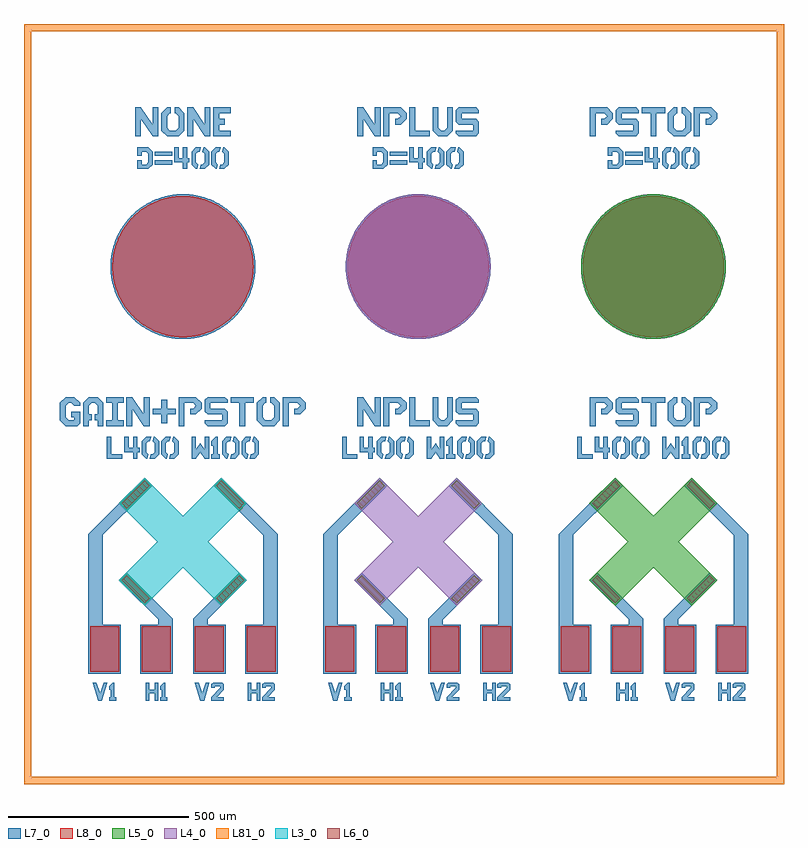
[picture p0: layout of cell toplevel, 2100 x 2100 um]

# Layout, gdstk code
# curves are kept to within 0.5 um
from math import pi, radians
import gdstk
lib = gdstk.Library(unit=1e-6, precision=1e-09)
def R(c, l, rs):  # rectangles x0, y0, x1, y1
    for r in rs: c.add(gdstk.rectangle(r[:2], r[2:], *l))
def P(c, l, *ps):  # polygons
    for p in ps: c.add(gdstk.Polygon(p, *l))
L3_0 = (3, 0)
L4_0 = (4, 0)
L5_0 = (5, 0)
L6_0 = (6, 0)
L7_0 = (7, 0)
L8_0 = (8, 0)
L81_0 = (81, 0)

rectangle = lib.new_cell('rectangle')
R(rectangle, L4_0, [(-200,-50,200,50)])

rectangle002 = lib.new_cell('rectangle002')
R(rectangle002, L7_0, [(-200,-170,-170,50)])

rectangle003 = lib.new_cell('rectangle003')
R(rectangle003, L7_0, [(170,-130,200,50)])

offset = lib.new_cell('offset')
R(offset, L6_0, [(-195,-45,-175,45)])

offset004 = lib.new_cell('offset004')
R(offset004, L6_0, [(175,-45,195,45)])

x_tilt = lib.new_cell('X_tilt')
x_tilt.add(gdstk.Reference(rectangle, (0,0)))
x_tilt.add(gdstk.Reference(rectangle002, (0,0)))
x_tilt.add(gdstk.Reference(rectangle003, (0,0)))
x_tilt.add(gdstk.Reference(offset, (0,0)))
x_tilt.add(gdstk.Reference(offset004, (0,0)))

rectangle006 = lib.new_cell('rectangle006')
R(rectangle006, L7_0, [(0,0,40,250)])

rectangle005 = lib.new_cell('rectangle005')
R(rectangle005, L7_0, [(0,0,90,135)])

rectangle007 = lib.new_cell('rectangle007')
R(rectangle007, L7_0, [(0,0,40,16.655)])

offset008 = lib.new_cell('offset008')
R(offset008, L8_0, [(-256.629,-358.787,-176.63,-233.787)])

offset009 = lib.new_cell('offset009')
R(offset009, L8_0, [(33.284,-358.787,113.284,-233.787)])

x_long = lib.new_cell('X_long')
x_long.add(gdstk.Reference(rectangle006, (-261.63,-228.787)))
x_long.add(gdstk.Reference(rectangle005, (-261.63,-363.787)))
x_long.add(gdstk.Reference(rectangle007, (28.284,-228.787)))
x_long.add(gdstk.Reference(rectangle005, (28.284,-363.787)))
x_long.add(gdstk.Reference(offset008, (0,0)))
x_long.add(gdstk.Reference(offset009, (0,0)))

x_short = lib.new_cell('X_short')

x_left = lib.new_cell('X_left')
x_left.add(gdstk.Reference(x_tilt, (0,0), rotation=radians(-45)))
x_left.add(gdstk.Reference(x_long, (0,0)))
x_left.add(gdstk.Reference(x_short, (0,0)))

x_left010 = lib.new_cell('X_left010')
x_left010.add(gdstk.Reference(x_tilt, (0,0), rotation=radians(225), x_reflection=True))
x_left010.add(gdstk.Reference(x_long, (0,0), rotation=pi, x_reflection=True))
x_left010.add(gdstk.Reference(x_short, (0,0), rotation=pi, x_reflection=True))

text = lib.new_cell('text')
P(text, L7_0, [(-168,400),(-152,400),(-120,352),(-120,400),(-104,400),(-104,320),(-120,320),(-152,368),(-152,320),(-168,320),(-168,400)],
  [(-96,400),(-48,400),(-32,384),(-32,368),(-48,352),(-64,352),(-64,368),(-56,368),(-48,376),(-56,384),(-80,384),(-80,320),(-96,320)],
  [(-24,400),(-8,400),(-8,336),(32,336),(32,320),(-24,320),(-24,400)],
  [(56,400),(56,344),(64,336),(72,336),(80,344),(80,400),(96,400),(96,336),(80,320),(56,320),(40,336),(40,400)],
  [(168,384),(120,384),(120,368),(160,368),(168,360),(168,328),(160,320),(112,320),(104,328),(104,336),(152,336),(152,352),(112,352),(104,360),(104,392),(112,400),(160,400),(168,392)])

text011 = lib.new_cell('text011')
P(text011, L7_0, [(-210,290),(-198,290),(-198,242),(-168,242),(-168,230),(-210,230),(-210,290)],
  [(-120,260),(-120,248),(-126,248),(-126,230),(-138,230),(-138,248),(-162,248),(-162,290),(-150,290),(-150,260),(-138,260),(-138,290),(-126,290),(-126,260),(-120,260)],
  [(-96,278),(-102,272),(-102,248),(-96,242),(-99,230),(-102,230),(-114,242),(-114,278),(-102,290),(-88.2,290),(-91.2,278),(-96,278)],
  [(-84,242),(-78,248),(-78,272),(-84,278),(-81,290),(-78,290),(-66,278),(-66,242),(-78,230),(-91.8,230),(-88.8,242),(-84,242)],
  [(-42,278),(-48,272),(-48,248),(-42,242),(-45,230),(-48,230),(-60,242),(-60,278),(-48,290),(-34.2,290),(-37.2,278),(-42,278)],
  [(-30,242),(-24,248),(-24,272),(-30,278),(-27,290),(-24,290),(-12,278),(-12,242),(-24,230),(-37.8,230),(-34.8,242),(-30,242)],
  [(24,290),(36,290),(36,254),(48,272),(60,254),(60,290),(72,290),(72,230),(60,230),(48,248),(36,230),(24,230)],
  [(84,266),(78,266),(78,278),(90,290),(96,290),(96,242),(102,242),(102,230),(78,230),(78,242),(84,242)],
  [(126,278),(120,272),(120,248),(126,242),(123,230),(120,230),(108,242),(108,278),(120,290),(133.8,290),(130.8,278),(126,278)],
  [(138,242),(144,248),(144,272),(138,278),(141,290),(144,290),(156,278),(156,242),(144,230),(130.2,230),(133.2,242),(138,242)],
  [(180,278),(174,272),(174,248),(180,242),(177,230),(174,230),(162,242),(162,278),(174,290),(187.8,290),(184.8,278),(180,278)],
  [(192,242),(198,248),(198,272),(192,278),(195,290),(198,290),(210,278),(210,242),(198,230),(184.2,230),(187.2,242),(192,242)])

text012 = lib.new_cell('text012')
P(text012, L7_0, [(15,50),(25,20),(35,50),(45,50),(30,0),(20,0),(5,50),(15,50)],
  [(55,30),(50,30),(50,40),(60,50),(65,50),(65,10),(70,10),(70,0),(50,0),(50,10),(55,10)])

text013 = lib.new_cell('text013')
P(text013, L7_0, [(15,50),(25,20),(35,50),(45,50),(30,0),(20,0),(5,50),(15,50)],
  [(50,45),(55,50),(80,50),(85,45),(85,30),(65,10),(85,10),(85,0),(50,0),(50,10),(75,35),(75,40),(60,40),(60,35),(50,35)])

text014 = lib.new_cell('text014')
P(text014, L7_0, [(5,50),(15,50),(15,30),(30,30),(30,50),(40,50),(40,0),(30,0),(30,20),(15,20),(15,0),(5,0),(5,50)],
  [(50,30),(45,30),(45,40),(55,50),(60,50),(60,10),(65,10),(65,0),(45,0),(45,10),(50,10)])

text015 = lib.new_cell('text015')
P(text015, L7_0, [(5,50),(15,50),(15,30),(30,30),(30,50),(40,50),(40,0),(30,0),(30,20),(15,20),(15,0),(5,0),(5,50)],
  [(45,45),(50,50),(75,50),(80,45),(80,30),(60,10),(80,10),(80,0),(45,0),(45,10),(70,35),(70,40),(55,40),(55,35),(45,35)])

pad_label = lib.new_cell('pad_label')
pad_label.add(gdstk.Reference(text012, (-254.13,-438.787)))
pad_label.add(gdstk.Reference(text013, (28.284,-438.787)))
pad_label.add(gdstk.Reference(text014, (-108.284,-438.787)))
pad_label.add(gdstk.Reference(text015, (174.13,-438.787)))

x_test = lib.new_cell('X_test')
x_test.add(gdstk.Reference(x_left, (0,0)))
x_test.add(gdstk.Reference(x_left010, (0,0)))
x_test.add(gdstk.Reference(text, (0,0)))
x_test.add(gdstk.Reference(text011, (0,0)))
x_test.add(gdstk.Reference(pad_label, (0,0)))

rectangle021 = lib.new_cell('rectangle021')
R(rectangle021, L3_0, [(-200,-50,200,50)])

rectangle022 = lib.new_cell('rectangle022')
R(rectangle022, L7_0, [(-200,-170,-170,50)])

rectangle023 = lib.new_cell('rectangle023')
R(rectangle023, L7_0, [(170,-130,200,50)])

offset025 = lib.new_cell('offset025')
R(offset025, L6_0, [(-195,-45,-175,45)])

offset027 = lib.new_cell('offset027')
R(offset027, L6_0, [(175,-45,195,45)])

boolean024 = lib.new_cell('boolean024')
R(boolean024, L5_0, [(-200,-50,-170,50)])

boolean026 = lib.new_cell('boolean026')
R(boolean026, L5_0, [(170,-50,200,50)])

x_tilt017 = lib.new_cell('X_tilt017')
x_tilt017.add(gdstk.Reference(rectangle021, (0,0)))
x_tilt017.add(gdstk.Reference(rectangle022, (0,0)))
x_tilt017.add(gdstk.Reference(rectangle023, (0,0)))
x_tilt017.add(gdstk.Reference(offset025, (0,0)))
x_tilt017.add(gdstk.Reference(offset027, (0,0)))
x_tilt017.add(gdstk.Reference(boolean024, (0,0)))
x_tilt017.add(gdstk.Reference(boolean026, (0,0)))

rectangle029 = lib.new_cell('rectangle029')
R(rectangle029, L7_0, [(0,0,40,250)])

rectangle028 = lib.new_cell('rectangle028')
R(rectangle028, L7_0, [(0,0,90,135)])

rectangle030 = lib.new_cell('rectangle030')
R(rectangle030, L7_0, [(0,0,40,16.655)])

offset031 = lib.new_cell('offset031')
R(offset031, L8_0, [(-256.629,-358.787,-176.63,-233.787)])

offset032 = lib.new_cell('offset032')
R(offset032, L8_0, [(33.284,-358.787,113.284,-233.787)])

x_long018 = lib.new_cell('X_long018')
x_long018.add(gdstk.Reference(rectangle029, (-261.63,-228.787)))
x_long018.add(gdstk.Reference(rectangle028, (-261.63,-363.787)))
x_long018.add(gdstk.Reference(rectangle030, (28.284,-228.787)))
x_long018.add(gdstk.Reference(rectangle028, (28.284,-363.787)))
x_long018.add(gdstk.Reference(offset031, (0,0)))
x_long018.add(gdstk.Reference(offset032, (0,0)))

x_short019 = lib.new_cell('X_short019')

x_left020 = lib.new_cell('X_left020')
x_left020.add(gdstk.Reference(x_tilt017, (0,0), rotation=radians(-45)))
x_left020.add(gdstk.Reference(x_long018, (0,0)))
x_left020.add(gdstk.Reference(x_short019, (0,0)))

x_left033 = lib.new_cell('X_left033')
x_left033.add(gdstk.Reference(x_tilt017, (0,0), rotation=radians(225), x_reflection=True))
x_left033.add(gdstk.Reference(x_long018, (0,0), rotation=pi, x_reflection=True))
x_left033.add(gdstk.Reference(x_short019, (0,0), rotation=pi, x_reflection=True))

text034 = lib.new_cell('text034')
P(text034, L7_0, [(-324,320),(-340,336),(-340,384),(-324,400),(-300,400),(-284,384),(-284,376),(-300,376),(-308,384),(-316,384),(-324,376),(-324,344),(-316,336),(-300,336),(-300,344),(-308,344),(-308,360),(-284,360),(-284,328),(-292,320)],
  [(-276,384),(-260,400),(-235.92,400),(-220,384),(-220,320),(-235.92,320),(-235.92,336),(-244,336),(-244,352),(-235.92,352),(-235.92,376),(-244,384),(-252,384),(-260,376),(-260,352),(-252,352),(-252,336),(-260,336),(-260,320),(-276.08,320)],
  [(-212,320),(-212,336),(-196,336),(-196,384),(-212,384),(-212,400),(-164,400),(-164,384),(-180,384),(-180,336),(-164,336),(-164,320),(-212,320)],
  [(-156,400),(-140,400),(-108,352),(-108,400),(-92,400),(-92,320),(-108,320),(-140,368),(-140,320),(-156,320),(-156,400)],
  [(-60,368),(-60,392),(-44,392),(-44,368),(-20,368),(-20,352),(-44,352),(-44,328),(-60,328),(-60,352),(-84,352),(-84,368),(-60,368)],
  [(-12,400),(36,400),(52,384),(52,368),(36,352),(20,352),(20,368),(28,368),(36,376),(28,384),(4,384),(4,320),(-12,320)],
  [(124,384),(76,384),(76,368),(116,368),(124,360),(124,328),(116,320),(68,320),(60,328),(60,336),(108,336),(108,352),(68,352),(60,360),(60,392),(68,400),(116,400),(124,392)],
  [(196,400),(196,384),(172,384),(172,320),(156,320),(156,384),(132,384),(132,400),(196,400)],
  [(204,384),(220,400),(230.4,400),(230.4,384),(228,384),(220,376),(220,344),(228,336),(244,336),(252,344),(252,376),(244,384),(241.6,384),(241.6,400),(252,400),(268,384),(268,336),(252,320),(220,320),(204,336)],
  [(276,400),(324,400),(340,384),(340,368),(324,352),(308,352),(308,368),(316,368),(324,376),(316,384),(292,384),(292,320),(276,320)])

text035 = lib.new_cell('text035')
P(text035, L7_0, [(-210,290),(-198,290),(-198,242),(-168,242),(-168,230),(-210,230),(-210,290)],
  [(-120,260),(-120,248),(-126,248),(-126,230),(-138,230),(-138,248),(-162,248),(-162,290),(-150,290),(-150,260),(-138,260),(-138,290),(-126,290),(-126,260),(-120,260)],
  [(-96,278),(-102,272),(-102,248),(-96,242),(-99,230),(-102,230),(-114,242),(-114,278),(-102,290),(-88.2,290),(-91.2,278),(-96,278)],
  [(-84,242),(-78,248),(-78,272),(-84,278),(-81,290),(-78,290),(-66,278),(-66,242),(-78,230),(-91.8,230),(-88.8,242),(-84,242)],
  [(-42,278),(-48,272),(-48,248),(-42,242),(-45,230),(-48,230),(-60,242),(-60,278),(-48,290),(-34.2,290),(-37.2,278),(-42,278)],
  [(-30,242),(-24,248),(-24,272),(-30,278),(-27,290),(-24,290),(-12,278),(-12,242),(-24,230),(-37.8,230),(-34.8,242),(-30,242)],
  [(24,290),(36,290),(36,254),(48,272),(60,254),(60,290),(72,290),(72,230),(60,230),(48,248),(36,230),(24,230)],
  [(84,266),(78,266),(78,278),(90,290),(96,290),(96,242),(102,242),(102,230),(78,230),(78,242),(84,242)],
  [(126,278),(120,272),(120,248),(126,242),(123,230),(120,230),(108,242),(108,278),(120,290),(133.8,290),(130.8,278),(126,278)],
  [(138,242),(144,248),(144,272),(138,278),(141,290),(144,290),(156,278),(156,242),(144,230),(130.2,230),(133.2,242),(138,242)],
  [(180,278),(174,272),(174,248),(180,242),(177,230),(174,230),(162,242),(162,278),(174,290),(187.8,290),(184.8,278),(180,278)],
  [(192,242),(198,248),(198,272),(192,278),(195,290),(198,290),(210,278),(210,242),(198,230),(184.2,230),(187.2,242),(192,242)])

text037 = lib.new_cell('text037')
P(text037, L7_0, [(15,50),(25,20),(35,50),(45,50),(30,0),(20,0),(5,50),(15,50)],
  [(55,30),(50,30),(50,40),(60,50),(65,50),(65,10),(70,10),(70,0),(50,0),(50,10),(55,10)])

text038 = lib.new_cell('text038')
P(text038, L7_0, [(15,50),(25,20),(35,50),(45,50),(30,0),(20,0),(5,50),(15,50)],
  [(50,45),(55,50),(80,50),(85,45),(85,30),(65,10),(85,10),(85,0),(50,0),(50,10),(75,35),(75,40),(60,40),(60,35),(50,35)])

text039 = lib.new_cell('text039')
P(text039, L7_0, [(5,50),(15,50),(15,30),(30,30),(30,50),(40,50),(40,0),(30,0),(30,20),(15,20),(15,0),(5,0),(5,50)],
  [(50,30),(45,30),(45,40),(55,50),(60,50),(60,10),(65,10),(65,0),(45,0),(45,10),(50,10)])

text040 = lib.new_cell('text040')
P(text040, L7_0, [(5,50),(15,50),(15,30),(30,30),(30,50),(40,50),(40,0),(30,0),(30,20),(15,20),(15,0),(5,0),(5,50)],
  [(45,45),(50,50),(75,50),(80,45),(80,30),(60,10),(80,10),(80,0),(45,0),(45,10),(70,35),(70,40),(55,40),(55,35),(45,35)])

pad_label036 = lib.new_cell('pad_label036')
pad_label036.add(gdstk.Reference(text037, (-254.13,-438.787)))
pad_label036.add(gdstk.Reference(text038, (28.284,-438.787)))
pad_label036.add(gdstk.Reference(text039, (-108.284,-438.787)))
pad_label036.add(gdstk.Reference(text040, (174.13,-438.787)))

x_test016 = lib.new_cell('X_test016')
x_test016.add(gdstk.Reference(x_left020, (0,0)))
x_test016.add(gdstk.Reference(x_left033, (0,0)))
x_test016.add(gdstk.Reference(text034, (0,0)))
x_test016.add(gdstk.Reference(text035, (0,0)))
x_test016.add(gdstk.Reference(pad_label036, (0,0)))

rectangle046 = lib.new_cell('rectangle046')
R(rectangle046, L5_0, [(-200,-50,200,50)])

rectangle047 = lib.new_cell('rectangle047')
R(rectangle047, L7_0, [(-200,-170,-170,50)])

rectangle048 = lib.new_cell('rectangle048')
R(rectangle048, L7_0, [(170,-130,200,50)])

offset049 = lib.new_cell('offset049')
R(offset049, L6_0, [(-195,-45,-175,45)])

offset050 = lib.new_cell('offset050')
R(offset050, L6_0, [(175,-45,195,45)])

x_tilt042 = lib.new_cell('X_tilt042')
x_tilt042.add(gdstk.Reference(rectangle046, (0,0)))
x_tilt042.add(gdstk.Reference(rectangle047, (0,0)))
x_tilt042.add(gdstk.Reference(rectangle048, (0,0)))
x_tilt042.add(gdstk.Reference(offset049, (0,0)))
x_tilt042.add(gdstk.Reference(offset050, (0,0)))

rectangle052 = lib.new_cell('rectangle052')
R(rectangle052, L7_0, [(0,0,40,250)])

rectangle051 = lib.new_cell('rectangle051')
R(rectangle051, L7_0, [(0,0,90,135)])

rectangle053 = lib.new_cell('rectangle053')
R(rectangle053, L7_0, [(0,0,40,16.655)])

offset054 = lib.new_cell('offset054')
R(offset054, L8_0, [(-256.629,-358.787,-176.63,-233.787)])

offset055 = lib.new_cell('offset055')
R(offset055, L8_0, [(33.284,-358.787,113.284,-233.787)])

x_long043 = lib.new_cell('X_long043')
x_long043.add(gdstk.Reference(rectangle052, (-261.63,-228.787)))
x_long043.add(gdstk.Reference(rectangle051, (-261.63,-363.787)))
x_long043.add(gdstk.Reference(rectangle053, (28.284,-228.787)))
x_long043.add(gdstk.Reference(rectangle051, (28.284,-363.787)))
x_long043.add(gdstk.Reference(offset054, (0,0)))
x_long043.add(gdstk.Reference(offset055, (0,0)))

x_short044 = lib.new_cell('X_short044')

x_left045 = lib.new_cell('X_left045')
x_left045.add(gdstk.Reference(x_tilt042, (0,0), rotation=radians(-45)))
x_left045.add(gdstk.Reference(x_long043, (0,0)))
x_left045.add(gdstk.Reference(x_short044, (0,0)))

x_left056 = lib.new_cell('X_left056')
x_left056.add(gdstk.Reference(x_tilt042, (0,0), rotation=radians(225), x_reflection=True))
x_left056.add(gdstk.Reference(x_long043, (0,0), rotation=pi, x_reflection=True))
x_left056.add(gdstk.Reference(x_short044, (0,0), rotation=pi, x_reflection=True))

text057 = lib.new_cell('text057')
P(text057, L7_0, [(-176,400),(-128,400),(-112,384),(-112,368),(-128,352),(-144,352),(-144,368),(-136,368),(-128,376),(-136,384),(-160,384),(-160,320),(-176,320)],
  [(-40,384),(-88,384),(-88,368),(-48,368),(-40,360),(-40,328),(-48,320),(-96,320),(-104,328),(-104,336),(-56,336),(-56,352),(-96,352),(-104,360),(-104,392),(-96,400),(-48,400),(-40,392)],
  [(32,400),(32,384),(8,384),(8,320),(-8,320),(-8,384),(-32,384),(-32,400),(32,400)],
  [(40,384),(56,400),(66.4,400),(66.4,384),(64,384),(56,376),(56,344),(64,336),(80,336),(88,344),(88,376),(80,384),(77.6,384),(77.6,400),(88,400),(104,384),(104,336),(88,320),(56,320),(40,336)],
  [(112,400),(160,400),(176,384),(176,368),(160,352),(144,352),(144,368),(152,368),(160,376),(152,384),(128,384),(128,320),(112,320)])

text058 = lib.new_cell('text058')
P(text058, L7_0, [(-210,290),(-198,290),(-198,242),(-168,242),(-168,230),(-210,230),(-210,290)],
  [(-120,260),(-120,248),(-126,248),(-126,230),(-138,230),(-138,248),(-162,248),(-162,290),(-150,290),(-150,260),(-138,260),(-138,290),(-126,290),(-126,260),(-120,260)],
  [(-96,278),(-102,272),(-102,248),(-96,242),(-99,230),(-102,230),(-114,242),(-114,278),(-102,290),(-88.2,290),(-91.2,278),(-96,278)],
  [(-84,242),(-78,248),(-78,272),(-84,278),(-81,290),(-78,290),(-66,278),(-66,242),(-78,230),(-91.8,230),(-88.8,242),(-84,242)],
  [(-42,278),(-48,272),(-48,248),(-42,242),(-45,230),(-48,230),(-60,242),(-60,278),(-48,290),(-34.2,290),(-37.2,278),(-42,278)],
  [(-30,242),(-24,248),(-24,272),(-30,278),(-27,290),(-24,290),(-12,278),(-12,242),(-24,230),(-37.8,230),(-34.8,242),(-30,242)],
  [(24,290),(36,290),(36,254),(48,272),(60,254),(60,290),(72,290),(72,230),(60,230),(48,248),(36,230),(24,230)],
  [(84,266),(78,266),(78,278),(90,290),(96,290),(96,242),(102,242),(102,230),(78,230),(78,242),(84,242)],
  [(126,278),(120,272),(120,248),(126,242),(123,230),(120,230),(108,242),(108,278),(120,290),(133.8,290),(130.8,278),(126,278)],
  [(138,242),(144,248),(144,272),(138,278),(141,290),(144,290),(156,278),(156,242),(144,230),(130.2,230),(133.2,242),(138,242)],
  [(180,278),(174,272),(174,248),(180,242),(177,230),(174,230),(162,242),(162,278),(174,290),(187.8,290),(184.8,278),(180,278)],
  [(192,242),(198,248),(198,272),(192,278),(195,290),(198,290),(210,278),(210,242),(198,230),(184.2,230),(187.2,242),(192,242)])

text060 = lib.new_cell('text060')
P(text060, L7_0, [(15,50),(25,20),(35,50),(45,50),(30,0),(20,0),(5,50),(15,50)],
  [(55,30),(50,30),(50,40),(60,50),(65,50),(65,10),(70,10),(70,0),(50,0),(50,10),(55,10)])

text061 = lib.new_cell('text061')
P(text061, L7_0, [(15,50),(25,20),(35,50),(45,50),(30,0),(20,0),(5,50),(15,50)],
  [(50,45),(55,50),(80,50),(85,45),(85,30),(65,10),(85,10),(85,0),(50,0),(50,10),(75,35),(75,40),(60,40),(60,35),(50,35)])

text062 = lib.new_cell('text062')
P(text062, L7_0, [(5,50),(15,50),(15,30),(30,30),(30,50),(40,50),(40,0),(30,0),(30,20),(15,20),(15,0),(5,0),(5,50)],
  [(50,30),(45,30),(45,40),(55,50),(60,50),(60,10),(65,10),(65,0),(45,0),(45,10),(50,10)])

text063 = lib.new_cell('text063')
P(text063, L7_0, [(5,50),(15,50),(15,30),(30,30),(30,50),(40,50),(40,0),(30,0),(30,20),(15,20),(15,0),(5,0),(5,50)],
  [(45,45),(50,50),(75,50),(80,45),(80,30),(60,10),(80,10),(80,0),(45,0),(45,10),(70,35),(70,40),(55,40),(55,35),(45,35)])

pad_label059 = lib.new_cell('pad_label059')
pad_label059.add(gdstk.Reference(text060, (-254.13,-438.787)))
pad_label059.add(gdstk.Reference(text061, (28.284,-438.787)))
pad_label059.add(gdstk.Reference(text062, (-108.284,-438.787)))
pad_label059.add(gdstk.Reference(text063, (174.13,-438.787)))

x_test041 = lib.new_cell('X_test041')
x_test041.add(gdstk.Reference(x_left045, (0,0)))
x_test041.add(gdstk.Reference(x_left056, (0,0)))
x_test041.add(gdstk.Reference(text057, (0,0)))
x_test041.add(gdstk.Reference(text058, (0,0)))
x_test041.add(gdstk.Reference(pad_label059, (0,0)))

ellipse = lib.new_cell('ellipse')
P(ellipse, L7_0, [(200,0),(199.239,17.431),(196.325,38.162),(191.261,58.474),(185.437,74.921),(176.59,93.894),(165.808,111.839),(153.209,128.558),(141.421,141.421),(128.558,153.209),(111.839,165.808),(93.894,176.59),(74.921,185.437),(58.474,191.261),(38.162,196.325),(17.431,199.239),(0,200),(-17.431,199.239),(-38.162,196.325),(-58.474,191.261),(-74.921,185.437),(-93.894,176.59),(-111.839,165.808),(-128.558,153.209),(-141.421,141.421),(-153.209,128.558),(-165.808,111.839),(-176.59,93.894),(-185.437,74.921),(-191.261,58.474),(-196.325,38.162),(-199.239,17.431),(-200,0),(-199.239,-17.431),(-196.325,-38.162),(-191.261,-58.474),(-185.437,-74.921),(-176.59,-93.894),(-165.808,-111.839),(-153.209,-128.558),(-141.421,-141.421),(-128.558,-153.209),(-111.839,-165.808),(-93.894,-176.59),(-74.921,-185.437),(-58.474,-191.261),(-38.162,-196.325),(-17.431,-199.239),(0,-200),(17.431,-199.239),(38.162,-196.325),(58.474,-191.261),(74.921,-185.437),(93.894,-176.59),(111.839,-165.808),(128.558,-153.209),(141.421,-141.421),(153.209,-128.558),(165.808,-111.839),(176.59,-93.894),(185.437,-74.921),(191.261,-58.474),(196.325,-38.162),(199.239,-17.431)])

ellipse064 = lib.new_cell('ellipse064')
P(ellipse064, L8_0, [(195,0),(193.932,20.383),(191.417,37.208),(187.446,53.749),(180.801,73.048),(172.175,91.547),(163.541,106.205),(151.543,122.717),(137.886,137.886),(122.717,151.543),(106.205,163.541),(91.547,172.175),(73.048,180.801),(53.749,187.446),(37.208,191.417),(20.383,193.932),(0,195),(-20.383,193.932),(-37.208,191.417),(-53.749,187.446),(-73.048,180.801),(-91.547,172.175),(-106.205,163.541),(-122.717,151.543),(-137.886,137.886),(-151.543,122.717),(-163.541,106.205),(-172.175,91.547),(-180.801,73.048),(-187.446,53.749),(-191.417,37.208),(-193.932,20.383),(-195,0),(-193.932,-20.383),(-191.417,-37.208),(-187.446,-53.749),(-180.801,-73.048),(-172.175,-91.547),(-163.541,-106.205),(-151.543,-122.717),(-137.886,-137.886),(-122.717,-151.543),(-106.205,-163.541),(-91.547,-172.175),(-73.048,-180.801),(-53.749,-187.446),(-37.208,-191.417),(-20.383,-193.932),(0,-195),(20.383,-193.932),(37.208,-191.417),(53.749,-187.446),(73.048,-180.801),(91.547,-172.175),(106.205,-163.541),(122.717,-151.543),(137.886,-137.886),(151.543,-122.717),(163.541,-106.205),(172.175,-91.547),(180.801,-73.048),(187.446,-53.749),(191.417,-37.208),(193.932,-20.383)])

text065 = lib.new_cell('text065')
P(text065, L7_0, [(8,80),(24,80),(56,32),(56,80),(72,80),(72,0),(56,0),(24,48),(24,0),(8,0),(8,80)],
  [(80,64),(96,80),(106.4,80),(106.4,64),(104,64),(96,56),(96,24),(104,16),(120,16),(128,24),(128,56),(120,64),(117.6,64),(117.6,80),(128,80),(144,64),(144,16),(128,0),(96,0),(80,16)],
  [(152,80),(168,80),(200,32),(200,80),(216,80),(216,0),(200,0),(168,48),(168,0),(152,0),(152,80)],
  [(272,80),(272,64),(240,64),(240,48),(256,48),(256,32),(240,32),(240,16),(272,16),(272,0),(224,0),(224,80),(272,80)])

text066 = lib.new_cell('text066')
P(text066, L7_0, [(6,0),(6,24),(18,24),(18,12),(30,12),(36,18),(36,42),(30,48),(18,48),(18,36),(6,36),(6,60),(36,60),(48,48),(48,12),(36,0)],
  [(54,24),(102,24),(102,12),(54,12),(54,24)],
  [(54,48),(102,48),(102,36),(54,36),(54,48)],
  [(150,30),(150,18),(144,18),(144,0),(132,0),(132,18),(108,18),(108,60),(120,60),(120,30),(132,30),(132,60),(144,60),(144,30),(150,30)],
  [(174,48),(168,42),(168,18),(174,12),(171,0),(168,0),(156,12),(156,48),(168,60),(181.8,60),(178.8,48),(174,48)],
  [(186,12),(192,18),(192,42),(186,48),(189,60),(192,60),(204,48),(204,12),(192,0),(178.2,0),(181.2,12),(186,12)],
  [(228,48),(222,42),(222,18),(228,12),(225,0),(222,0),(210,12),(210,48),(222,60),(235.8,60),(232.8,48),(228,48)],
  [(240,12),(246,18),(246,42),(240,48),(243,60),(246,60),(258,48),(258,12),(246,0),(232.2,0),(235.2,12),(240,12)])

c_pad_small = lib.new_cell('c-pad_small')
c_pad_small.add(gdstk.Reference(ellipse, (0,0)))
c_pad_small.add(gdstk.Reference(ellipse064, (0,0)))
c_pad_small.add(gdstk.Reference(text065, (-140,360)))
c_pad_small.add(gdstk.Reference(text066, (-132,270)))

ellipse068 = lib.new_cell('ellipse068')
P(ellipse068, L4_0, [(200,0),(199.239,17.431),(196.325,38.162),(191.261,58.474),(185.437,74.921),(176.59,93.894),(165.808,111.839),(153.209,128.558),(141.421,141.421),(128.558,153.209),(111.839,165.808),(93.894,176.59),(74.921,185.437),(58.474,191.261),(38.162,196.325),(17.431,199.239),(0,200),(-17.431,199.239),(-38.162,196.325),(-58.474,191.261),(-74.921,185.437),(-93.894,176.59),(-111.839,165.808),(-128.558,153.209),(-141.421,141.421),(-153.209,128.558),(-165.808,111.839),(-176.59,93.894),(-185.437,74.921),(-191.261,58.474),(-196.325,38.162),(-199.239,17.431),(-200,0),(-199.239,-17.431),(-196.325,-38.162),(-191.261,-58.474),(-185.437,-74.921),(-176.59,-93.894),(-165.808,-111.839),(-153.209,-128.558),(-141.421,-141.421),(-128.558,-153.209),(-111.839,-165.808),(-93.894,-176.59),(-74.921,-185.437),(-58.474,-191.261),(-38.162,-196.325),(-17.431,-199.239),(0,-200),(17.431,-199.239),(38.162,-196.325),(58.474,-191.261),(74.921,-185.437),(93.894,-176.59),(111.839,-165.808),(128.558,-153.209),(141.421,-141.421),(153.209,-128.558),(165.808,-111.839),(176.59,-93.894),(185.437,-74.921),(191.261,-58.474),(196.325,-38.162),(199.239,-17.431)])

ellipse069 = lib.new_cell('ellipse069')
P(ellipse069, L7_0, [(200,0),(199.239,17.431),(196.325,38.162),(191.261,58.474),(185.437,74.921),(176.59,93.894),(165.808,111.839),(153.209,128.558),(141.421,141.421),(128.558,153.209),(111.839,165.808),(93.894,176.59),(74.921,185.437),(58.474,191.261),(38.162,196.325),(17.431,199.239),(0,200),(-17.431,199.239),(-38.162,196.325),(-58.474,191.261),(-74.921,185.437),(-93.894,176.59),(-111.839,165.808),(-128.558,153.209),(-141.421,141.421),(-153.209,128.558),(-165.808,111.839),(-176.59,93.894),(-185.437,74.921),(-191.261,58.474),(-196.325,38.162),(-199.239,17.431),(-200,0),(-199.239,-17.431),(-196.325,-38.162),(-191.261,-58.474),(-185.437,-74.921),(-176.59,-93.894),(-165.808,-111.839),(-153.209,-128.558),(-141.421,-141.421),(-128.558,-153.209),(-111.839,-165.808),(-93.894,-176.59),(-74.921,-185.437),(-58.474,-191.261),(-38.162,-196.325),(-17.431,-199.239),(0,-200),(17.431,-199.239),(38.162,-196.325),(58.474,-191.261),(74.921,-185.437),(93.894,-176.59),(111.839,-165.808),(128.558,-153.209),(141.421,-141.421),(153.209,-128.558),(165.808,-111.839),(176.59,-93.894),(185.437,-74.921),(191.261,-58.474),(196.325,-38.162),(199.239,-17.431)])

ellipse070 = lib.new_cell('ellipse070')
P(ellipse070, L8_0, [(195,0),(193.932,20.383),(191.417,37.208),(187.446,53.749),(180.801,73.048),(172.175,91.547),(163.541,106.205),(151.543,122.717),(137.886,137.886),(122.717,151.543),(106.205,163.541),(91.547,172.175),(73.048,180.801),(53.749,187.446),(37.208,191.417),(20.383,193.932),(0,195),(-20.383,193.932),(-37.208,191.417),(-53.749,187.446),(-73.048,180.801),(-91.547,172.175),(-106.205,163.541),(-122.717,151.543),(-137.886,137.886),(-151.543,122.717),(-163.541,106.205),(-172.175,91.547),(-180.801,73.048),(-187.446,53.749),(-191.417,37.208),(-193.932,20.383),(-195,0),(-193.932,-20.383),(-191.417,-37.208),(-187.446,-53.749),(-180.801,-73.048),(-172.175,-91.547),(-163.541,-106.205),(-151.543,-122.717),(-137.886,-137.886),(-122.717,-151.543),(-106.205,-163.541),(-91.547,-172.175),(-73.048,-180.801),(-53.749,-187.446),(-37.208,-191.417),(-20.383,-193.932),(0,-195),(20.383,-193.932),(37.208,-191.417),(53.749,-187.446),(73.048,-180.801),(91.547,-172.175),(106.205,-163.541),(122.717,-151.543),(137.886,-137.886),(151.543,-122.717),(163.541,-106.205),(172.175,-91.547),(180.801,-73.048),(187.446,-53.749),(191.417,-37.208),(193.932,-20.383)])

text071 = lib.new_cell('text071')
P(text071, L7_0, [(8,80),(24,80),(56,32),(56,80),(72,80),(72,0),(56,0),(24,48),(24,0),(8,0),(8,80)],
  [(80,80),(128,80),(144,64),(144,48),(128,32),(112,32),(112,48),(120,48),(128,56),(120,64),(96,64),(96,0),(80,0)],
  [(152,80),(168,80),(168,16),(208,16),(208,0),(152,0),(152,80)],
  [(232,80),(232,24),(240,16),(248,16),(256,24),(256,80),(272,80),(272,16),(256,0),(232,0),(216,16),(216,80)],
  [(344,64),(296,64),(296,48),(336,48),(344,40),(344,8),(336,0),(288,0),(280,8),(280,16),(328,16),(328,32),(288,32),(280,40),(280,72),(288,80),(336,80),(344,72)])

text072 = lib.new_cell('text072')
P(text072, L7_0, [(6,0),(6,24),(18,24),(18,12),(30,12),(36,18),(36,42),(30,48),(18,48),(18,36),(6,36),(6,60),(36,60),(48,48),(48,12),(36,0)],
  [(54,24),(102,24),(102,12),(54,12),(54,24)],
  [(54,48),(102,48),(102,36),(54,36),(54,48)],
  [(150,30),(150,18),(144,18),(144,0),(132,0),(132,18),(108,18),(108,60),(120,60),(120,30),(132,30),(132,60),(144,60),(144,30),(150,30)],
  [(174,48),(168,42),(168,18),(174,12),(171,0),(168,0),(156,12),(156,48),(168,60),(181.8,60),(178.8,48),(174,48)],
  [(186,12),(192,18),(192,42),(186,48),(189,60),(192,60),(204,48),(204,12),(192,0),(178.2,0),(181.2,12),(186,12)],
  [(228,48),(222,42),(222,18),(228,12),(225,0),(222,0),(210,12),(210,48),(222,60),(235.8,60),(232.8,48),(228,48)],
  [(240,12),(246,18),(246,42),(240,48),(243,60),(246,60),(258,48),(258,12),(246,0),(232.2,0),(235.2,12),(240,12)])

c_pad_small067 = lib.new_cell('c-pad_small067')
c_pad_small067.add(gdstk.Reference(ellipse068, (0,0)))
c_pad_small067.add(gdstk.Reference(ellipse069, (0,0)))
c_pad_small067.add(gdstk.Reference(ellipse070, (0,0)))
c_pad_small067.add(gdstk.Reference(text071, (-176,360)))
c_pad_small067.add(gdstk.Reference(text072, (-132,270)))

ellipse074 = lib.new_cell('ellipse074')
P(ellipse074, L5_0, [(200,0),(199.239,17.431),(196.325,38.162),(191.261,58.474),(185.437,74.921),(176.59,93.894),(165.808,111.839),(153.209,128.558),(141.421,141.421),(128.558,153.209),(111.839,165.808),(93.894,176.59),(74.921,185.437),(58.474,191.261),(38.162,196.325),(17.431,199.239),(0,200),(-17.431,199.239),(-38.162,196.325),(-58.474,191.261),(-74.921,185.437),(-93.894,176.59),(-111.839,165.808),(-128.558,153.209),(-141.421,141.421),(-153.209,128.558),(-165.808,111.839),(-176.59,93.894),(-185.437,74.921),(-191.261,58.474),(-196.325,38.162),(-199.239,17.431),(-200,0),(-199.239,-17.431),(-196.325,-38.162),(-191.261,-58.474),(-185.437,-74.921),(-176.59,-93.894),(-165.808,-111.839),(-153.209,-128.558),(-141.421,-141.421),(-128.558,-153.209),(-111.839,-165.808),(-93.894,-176.59),(-74.921,-185.437),(-58.474,-191.261),(-38.162,-196.325),(-17.431,-199.239),(0,-200),(17.431,-199.239),(38.162,-196.325),(58.474,-191.261),(74.921,-185.437),(93.894,-176.59),(111.839,-165.808),(128.558,-153.209),(141.421,-141.421),(153.209,-128.558),(165.808,-111.839),(176.59,-93.894),(185.437,-74.921),(191.261,-58.474),(196.325,-38.162),(199.239,-17.431)])

ellipse075 = lib.new_cell('ellipse075')
P(ellipse075, L7_0, [(200,0),(199.239,17.431),(196.325,38.162),(191.261,58.474),(185.437,74.921),(176.59,93.894),(165.808,111.839),(153.209,128.558),(141.421,141.421),(128.558,153.209),(111.839,165.808),(93.894,176.59),(74.921,185.437),(58.474,191.261),(38.162,196.325),(17.431,199.239),(0,200),(-17.431,199.239),(-38.162,196.325),(-58.474,191.261),(-74.921,185.437),(-93.894,176.59),(-111.839,165.808),(-128.558,153.209),(-141.421,141.421),(-153.209,128.558),(-165.808,111.839),(-176.59,93.894),(-185.437,74.921),(-191.261,58.474),(-196.325,38.162),(-199.239,17.431),(-200,0),(-199.239,-17.431),(-196.325,-38.162),(-191.261,-58.474),(-185.437,-74.921),(-176.59,-93.894),(-165.808,-111.839),(-153.209,-128.558),(-141.421,-141.421),(-128.558,-153.209),(-111.839,-165.808),(-93.894,-176.59),(-74.921,-185.437),(-58.474,-191.261),(-38.162,-196.325),(-17.431,-199.239),(0,-200),(17.431,-199.239),(38.162,-196.325),(58.474,-191.261),(74.921,-185.437),(93.894,-176.59),(111.839,-165.808),(128.558,-153.209),(141.421,-141.421),(153.209,-128.558),(165.808,-111.839),(176.59,-93.894),(185.437,-74.921),(191.261,-58.474),(196.325,-38.162),(199.239,-17.431)])

ellipse076 = lib.new_cell('ellipse076')
P(ellipse076, L8_0, [(195,0),(193.932,20.383),(191.417,37.208),(187.446,53.749),(180.801,73.048),(172.175,91.547),(163.541,106.205),(151.543,122.717),(137.886,137.886),(122.717,151.543),(106.205,163.541),(91.547,172.175),(73.048,180.801),(53.749,187.446),(37.208,191.417),(20.383,193.932),(0,195),(-20.383,193.932),(-37.208,191.417),(-53.749,187.446),(-73.048,180.801),(-91.547,172.175),(-106.205,163.541),(-122.717,151.543),(-137.886,137.886),(-151.543,122.717),(-163.541,106.205),(-172.175,91.547),(-180.801,73.048),(-187.446,53.749),(-191.417,37.208),(-193.932,20.383),(-195,0),(-193.932,-20.383),(-191.417,-37.208),(-187.446,-53.749),(-180.801,-73.048),(-172.175,-91.547),(-163.541,-106.205),(-151.543,-122.717),(-137.886,-137.886),(-122.717,-151.543),(-106.205,-163.541),(-91.547,-172.175),(-73.048,-180.801),(-53.749,-187.446),(-37.208,-191.417),(-20.383,-193.932),(0,-195),(20.383,-193.932),(37.208,-191.417),(53.749,-187.446),(73.048,-180.801),(91.547,-172.175),(106.205,-163.541),(122.717,-151.543),(137.886,-137.886),(151.543,-122.717),(163.541,-106.205),(172.175,-91.547),(180.801,-73.048),(187.446,-53.749),(191.417,-37.208),(193.932,-20.383)])

text077 = lib.new_cell('text077')
P(text077, L7_0, [(8,80),(56,80),(72,64),(72,48),(56,32),(40,32),(40,48),(48,48),(56,56),(48,64),(24,64),(24,0),(8,0)],
  [(144,64),(96,64),(96,48),(136,48),(144,40),(144,8),(136,0),(88,0),(80,8),(80,16),(128,16),(128,32),(88,32),(80,40),(80,72),(88,80),(136,80),(144,72)],
  [(216,80),(216,64),(192,64),(192,0),(176,0),(176,64),(152,64),(152,80),(216,80)],
  [(224,64),(240,80),(250.4,80),(250.4,64),(248,64),(240,56),(240,24),(248,16),(264,16),(272,24),(272,56),(264,64),(261.6,64),(261.6,80),(272,80),(288,64),(288,16),(272,0),(240,0),(224,16)],
  [(296,80),(344,80),(360,64),(360,48),(344,32),(328,32),(328,48),(336,48),(344,56),(336,64),(312,64),(312,0),(296,0)])

text078 = lib.new_cell('text078')
P(text078, L7_0, [(6,0),(6,24),(18,24),(18,12),(30,12),(36,18),(36,42),(30,48),(18,48),(18,36),(6,36),(6,60),(36,60),(48,48),(48,12),(36,0)],
  [(54,24),(102,24),(102,12),(54,12),(54,24)],
  [(54,48),(102,48),(102,36),(54,36),(54,48)],
  [(150,30),(150,18),(144,18),(144,0),(132,0),(132,18),(108,18),(108,60),(120,60),(120,30),(132,30),(132,60),(144,60),(144,30),(150,30)],
  [(174,48),(168,42),(168,18),(174,12),(171,0),(168,0),(156,12),(156,48),(168,60),(181.8,60),(178.8,48),(174,48)],
  [(186,12),(192,18),(192,42),(186,48),(189,60),(192,60),(204,48),(204,12),(192,0),(178.2,0),(181.2,12),(186,12)],
  [(228,48),(222,42),(222,18),(228,12),(225,0),(222,0),(210,12),(210,48),(222,60),(235.8,60),(232.8,48),(228,48)],
  [(240,12),(246,18),(246,42),(240,48),(243,60),(246,60),(258,48),(258,12),(246,0),(232.2,0),(235.2,12),(240,12)])

c_pad_small073 = lib.new_cell('c-pad_small073')
c_pad_small073.add(gdstk.Reference(ellipse074, (0,0)))
c_pad_small073.add(gdstk.Reference(ellipse075, (0,0)))
c_pad_small073.add(gdstk.Reference(ellipse076, (0,0)))
c_pad_small073.add(gdstk.Reference(text077, (-184,360)))
c_pad_small073.add(gdstk.Reference(text078, (-132,270)))

boolean = lib.new_cell('boolean')
P(boolean, L81_0, [(2100,2100),(0,2100),(0,20),(20,20),(20,2080),(2080,2080),(2080,20),(20,20),(0,20),(0,0),(2100,0)])

toplevel = lib.new_cell('toplevel')
toplevel.add(gdstk.Reference(x_test, (39.185,-380.91)))
toplevel.add(gdstk.Reference(x_test016, (-610.815,-380.91)))
toplevel.add(gdstk.Reference(x_test041, (689.185,-380.91)))
toplevel.add(gdstk.Reference(c_pad_small, (-610.815,379.697)))
toplevel.add(gdstk.Reference(c_pad_small067, (39.185,379.697)))
toplevel.add(gdstk.Reference(c_pad_small073, (689.185,379.697)))
toplevel.add(gdstk.Reference(boolean, (-1050,-1050)))

lib.write_gds('toplevel.gds')
